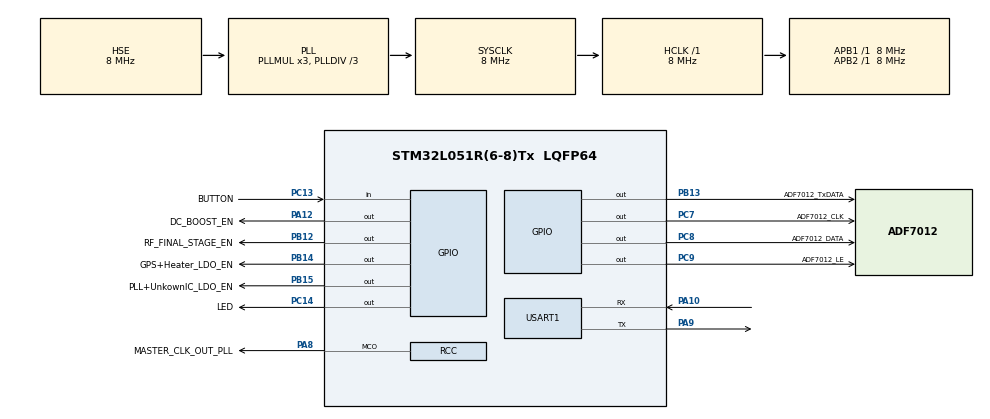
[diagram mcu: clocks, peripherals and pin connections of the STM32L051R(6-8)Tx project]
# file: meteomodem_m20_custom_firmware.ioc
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Dma.Request0=USART1_RX
Dma.USART1_RX.0.Direction=DMA_PERIPH_TO_MEMORY
Dma.USART1_RX.0.Instance=DMA1_Channel3
Dma.USART1_RX.0.MemDataAlignment=DMA_MDATAALIGN_BYTE
Dma.USART1_RX.0.MemInc=DMA_MINC_ENABLE
Dma.USART1_RX.0.Mode=DMA_NORMAL
Dma.USART1_RX.0.PeriphDataAlignment=DMA_PDATAALIGN_BYTE
Dma.USART1_RX.0.PeriphInc=DMA_PINC_DISABLE
Dma.USART1_RX.0.Priority=DMA_PRIORITY_LOW
Mcu.Family=STM32L0
Mcu.Name=STM32L051R(6-8)Tx
Mcu.Package=LQFP64
NVIC.DMA1_Channel2_3_IRQn=true\:0\:0\:false\:false\:true\:false\:true\:true
NVIC.TIM21_IRQn=true\:0\:0\:false\:false\:true\:true\:true\:true
NVIC.USART1_IRQn=true\:0\:0\:false\:false\:true\:true\:true\:true
PA10.Mode=Asynchronous
PA10.Signal=USART1_RX
PA12.GPIO_Label=DC_BOOST_EN
PA12.Signal=GPIO_Output
PA8.GPIO_Label=MASTER_CLK_OUT_PLL
PA8.GPIO_Speed=GPIO_SPEED_FREQ_VERY_HIGH
PA8.Mode=Clock-out
PA8.Signal=RCC_MCO
PA9.Mode=Asynchronous
PA9.Signal=USART1_TX
PB12.GPIO_Label=RF_FINAL_STAGE_EN
PB12.Signal=GPIO_Output
PB13.GPIO_Label=ADF7012_TxDATA
PB13.Signal=GPIO_Output
PB14.GPIO_Label=GPS+Heater_LDO_EN
PB14.Signal=GPIO_Output
PB15.GPIO_Label=PLL+UnkownIC_LDO_EN
PB15.Signal=GPIO_Output
PC13.GPIO_Label=BUTTON
PC13.Signal=GPIO_Input
PC14-OSC32_IN.GPIO_Label=LED
PC14-OSC32_IN.Signal=GPIO_Output
PC7.GPIO_Label=ADF7012_CLK
PC7.Signal=GPIO_Output
PC8.GPIO_Label=ADF7012_DATA
PC8.Signal=GPIO_Output
PC9.GPIO_Label=ADF7012_LE
PC9.Signal=GPIO_Output
PH0-OSC_IN.Mode=HSE-External-Oscillator
PH0-OSC_IN.Signal=RCC_OSC_IN
PH1-OSC_OUT.Mode=HSE-External-Oscillator
PH1-OSC_OUT.Signal=RCC_OSC_OUT
ProjectManager.HeapSize=0x200
ProjectManager.StackSize=0x400
ProjectManager.TargetToolchain=STM32CubeIDE
RCC.AHBFreq_Value=8000000
RCC.APB1Freq_Value=8000000
RCC.APB1TimFreq_Value=8000000
RCC.APB2Freq_Value=8000000
RCC.APB2TimFreq_Value=8000000
RCC.HCLKFreq_Value=8000000
RCC.HSE_VALUE=8000000
RCC.HSI16_VALUE=16000000
RCC.HSI_VALUE=16000000
RCC.LSE_VALUE=32768
RCC.MSI_VALUE=2097000
RCC.PLLDIV=RCC_PLLDIV_3
RCC.PLLSourceVirtual=RCC_PLLSOURCE_HSE
RCC.SYSCLKFreq_VALUE=8000000
RCC.SYSCLKSource=RCC_SYSCLKSOURCE_PLLCLK
RCC.VCOOutputFreq_Value=24000000
USART1.MSBFirstParam=ADVFEATURE_MSBFIRST_DISABLE
USART1.VirtualMode-Asynchronous=VM_ASYNC
VP_TIM21_VS_ClockSourceINT.Mode=Internal
board=custom

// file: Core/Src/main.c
/* USER CODE BEGIN Header */
/**
  ******************************************************************************
  * @file           : main.c
  * @brief          : Main program body
  ******************************************************************************
  * @attention
  *
  * Copyright (c) 2023 STMicroelectronics.
  * All rights reserved.
  *
  * This software is licensed under terms that can be found in the LICENSE file
  * in the root directory of this software component.
  * If no LICENSE file comes with this software, it is provided AS-IS.
  *
  ******************************************************************************
  */
/* USER CODE END Header */
#include "main.h"

/* USER CODE BEGIN Includes */

//#include "modes.h"
#include <string.h>
#include "functions.h"

/* USER CODE END Includes */

TIM_HandleTypeDef htim21;

UART_HandleTypeDef huart1;
DMA_HandleTypeDef hdma_usart1_rx;

/* USER CODE BEGIN PV */

uint8_t		activeMode = 4;
uint8_t		maxActiveMode = 5;
uint8_t		serialTXbuffer[2000];
uint32_t	TIM21_value;
uint16_t	TIM21_increment = 0;

uint32_t test = 0;

//extern void mode0();

/* USER CODE END PV */

void SystemClock_Config(void);
static void MX_GPIO_Init(void);
static void MX_DMA_Init(void);
static void MX_USART1_UART_Init(void);
static void MX_TIM21_Init(void);

/* USER CODE BEGIN 0 */

#define RxBuf_SIZE 32
#define MainBuf_SIZE 32

uint8_t RxBuf[RxBuf_SIZE];
uint8_t MainBuf[MainBuf_SIZE];

void HAL_UARTEx_RxEventCallback(UART_HandleTypeDef *huart, uint16_t Size)
{
	if (huart->Instance == USART1)
	{
		memcpy (MainBuf, RxBuf, Size);

		HAL_UARTEx_ReceiveToIdle_DMA(&huart1, RxBuf, RxBuf_SIZE);
		__HAL_DMA_DISABLE_IT(&hdma_usart1_rx, DMA_IT_HT);

		//for (uint8_t var = 31; var >= 0; var--) {
		for (uint8_t var = 0; var < 32; var++) {
			//uint8_t pos=30;
			//test[var] = RxBuf[var];
			if (MainBuf[var] == 49){
				//test << 0b1;
				test+=1;
			}
			if(var < 31){
				test<<=1;
			}
			//pos--;
			/*
			else if (RxBuf[var] == 48){
				//test << 0b0;
				test=2;
			}*/

		}

		//test = MainBuf;
		myspi(test);

		//for (uint8_t var = 0; var <= 33; ++var) {
			//test[var] = RxBuf[var];
		//}

		//myspi(0b00000000000011011000111101011101);
	}
}

uint32_t setfreq(float freq, float fPFD, uint8_t prescaler)
{
	float latch = freq / fPFD;
	uint32_t Nint = latch;
	latch = latch - Nint;
	uint32_t Nfrac = latch * 4096;
	uint32_t ret = 0;
	ret = ret | prescaler << 22;
	ret = ret | Nint << 14;
	ret = ret | Nfrac << 2;
	ret = ret | 0b00000001;
	return ret;
}

void HAL_UART_TxCpltCallback(UART_HandleTypeDef *huart)
{
   HAL_UART_Transmit_IT(&huart1, serialTXbuffer, sizeof (serialTXbuffer));
}

void clearbuffer(){
	for (int i=0; i < sizeof(serialTXbuffer); i++){
		serialTXbuffer[i]='\0';
	}
}

	/*
		if (bitNumber >= 1120){
			HAL_GPIO_WritePin(PLL_UnkownIC_LDO_EN_GPIO_Port, PLL_UnkownIC_LDO_EN_Pin, GPIO_PIN_RESET); //Disable PLL &
			HAL_GPIO_WritePin(RF_FINAL_STAGE_EN_GPIO_Port, RF_FINAL_STAGE_EN_Pin, GPIO_PIN_RESET);
			printstr("PLL & RF Stage : OFF");
	//		stop=1; bitNumber=0;}
	 *
	//}
}

/* USER CODE END 0 */

int main(void)
{

  /* MCU Configuration--------------------------------------------------------*/

  /* Reset of all peripherals, Initializes the Flash interface and the Systick. */
  HAL_Init();

  /* Configure the system clock */
  SystemClock_Config();

  /* Initialize all configured peripherals */
  MX_GPIO_Init();
  MX_DMA_Init();
  MX_USART1_UART_Init();
  MX_TIM21_Init();
  /* USER CODE BEGIN 2 */

  HAL_UARTEx_ReceiveToIdle_DMA(&huart1, RxBuf, RxBuf_SIZE);
  __HAL_DMA_DISABLE_IT(&hdma_usart1_rx, DMA_IT_HT);

  HAL_GPIO_WritePin(DC_BOOST_EN_GPIO_Port, DC_BOOST_EN_Pin, GPIO_PIN_SET); //Enable DC Boost

	if (HAL_TIM_Base_Start_IT(&htim21) != HAL_OK)
	  {
		/* Starting Error */
		Error_Handler();
	  }

  /* USER CODE END 2 */

  /* Infinite loop */
  while (1)
  {

    /* USER CODE BEGIN 3 */
	printstr("\n\nMain While");

	sprintf(serialTXbuffer,"activeMode=%d\n", activeMode);
	HAL_UART_Transmit(&huart1, serialTXbuffer, sizeof (serialTXbuffer), sizeof (serialTXbuffer));
	clearbuffer();

  	if (activeMode >= maxActiveMode){activeMode=0;}

		switch (activeMode)
		{
			case 0:
				printstr("case 0");
				mode0();
				break;

			case 1:
				printstr("case 1");
				//mode1();
				/*
				while (activeMode==1) {
					HAL_Delay(500);
					if ( HAL_GPIO_ReadPin(BUTTON_GPIO_Port, BUTTON_Pin) ==0 ) { activeMode++; }
				}*/
				break;
			case 2:
				printstr("case 2");
				mode2();
				break;
			case 3:
				printstr("case 3");
				//mode3();
				break;
			case 4:
				printstr("case 4");
				mode4();
				break;
			default:
				break;
		}

  }
  /* USER CODE END 3 */
}

void SystemClock_Config(void)
{
  RCC_OscInitTypeDef RCC_OscInitStruct = {0};
  RCC_ClkInitTypeDef RCC_ClkInitStruct = {0};
  RCC_PeriphCLKInitTypeDef PeriphClkInit = {0};

  /** Configure the main internal regulator output voltage
  */
  __HAL_PWR_VOLTAGESCALING_CONFIG(PWR_REGULATOR_VOLTAGE_SCALE1);

  /** Initializes the RCC Oscillators according to the specified parameters
  * in the RCC_OscInitTypeDef structure.
  */
  RCC_OscInitStruct.OscillatorType = RCC_OSCILLATORTYPE_HSE;
  RCC_OscInitStruct.HSEState = RCC_HSE_ON;
  RCC_OscInitStruct.PLL.PLLState = RCC_PLL_ON;
  RCC_OscInitStruct.PLL.PLLSource = RCC_PLLSOURCE_HSE;
  RCC_OscInitStruct.PLL.PLLMUL = RCC_PLLMUL_3;
  RCC_OscInitStruct.PLL.PLLDIV = RCC_PLLDIV_3;
  if (HAL_RCC_OscConfig(&RCC_OscInitStruct) != HAL_OK)
  {
    Error_Handler();
  }

  /** Initializes the CPU, AHB and APB buses clocks
  */
  RCC_ClkInitStruct.ClockType = RCC_CLOCKTYPE_HCLK|RCC_CLOCKTYPE_SYSCLK
                              |RCC_CLOCKTYPE_PCLK1|RCC_CLOCKTYPE_PCLK2;
  RCC_ClkInitStruct.SYSCLKSource = RCC_SYSCLKSOURCE_PLLCLK;
  RCC_ClkInitStruct.AHBCLKDivider = RCC_SYSCLK_DIV1;
  RCC_ClkInitStruct.APB1CLKDivider = RCC_HCLK_DIV1;
  RCC_ClkInitStruct.APB2CLKDivider = RCC_HCLK_DIV1;

  if (HAL_RCC_ClockConfig(&RCC_ClkInitStruct, FLASH_LATENCY_0) != HAL_OK)
  {
    Error_Handler();
  }
  PeriphClkInit.PeriphClockSelection = RCC_PERIPHCLK_USART1;
  PeriphClkInit.Usart1ClockSelection = RCC_USART1CLKSOURCE_PCLK2;
  if (HAL_RCCEx_PeriphCLKConfig(&PeriphClkInit) != HAL_OK)
  {
    Error_Handler();
  }
  HAL_RCC_MCOConfig(RCC_MCO1, RCC_MCO1SOURCE_SYSCLK, RCC_MCODIV_1);
}

static void MX_TIM21_Init(void)
{

  TIM_ClockConfigTypeDef sClockSourceConfig = {0};
  TIM_MasterConfigTypeDef sMasterConfig = {0};

  htim21.Instance = TIM21;
  htim21.Init.Prescaler = 0;
  htim21.Init.CounterMode = TIM_COUNTERMODE_UP;
  htim21.Init.Period = 65535;
  htim21.Init.ClockDivision = TIM_CLOCKDIVISION_DIV1;
  htim21.Init.AutoReloadPreload = TIM_AUTORELOAD_PRELOAD_DISABLE;
  if (HAL_TIM_Base_Init(&htim21) != HAL_OK)
  {
    Error_Handler();
  }
  sClockSourceConfig.ClockSource = TIM_CLOCKSOURCE_INTERNAL;
  if (HAL_TIM_ConfigClockSource(&htim21, &sClockSourceConfig) != HAL_OK)
  {
    Error_Handler();
  }
  sMasterConfig.MasterOutputTrigger = TIM_TRGO_RESET;
  sMasterConfig.MasterSlaveMode = TIM_MASTERSLAVEMODE_DISABLE;
  if (HAL_TIMEx_MasterConfigSynchronization(&htim21, &sMasterConfig) != HAL_OK)
  {
    Error_Handler();
  }

}

static void MX_USART1_UART_Init(void)
{

  huart1.Instance = USART1;
  huart1.Init.BaudRate = 115200;
  huart1.Init.WordLength = UART_WORDLENGTH_8B;
  huart1.Init.StopBits = UART_STOPBITS_1;
  huart1.Init.Parity = UART_PARITY_NONE;
  huart1.Init.Mode = UART_MODE_TX_RX;
  huart1.Init.HwFlowCtl = UART_HWCONTROL_NONE;
  huart1.Init.OverSampling = UART_OVERSAMPLING_16;
  huart1.Init.OneBitSampling = UART_ONE_BIT_SAMPLE_DISABLE;
  huart1.AdvancedInit.AdvFeatureInit = UART_ADVFEATURE_NO_INIT;
  if (HAL_UART_Init(&huart1) != HAL_OK)
  {
    Error_Handler();
  }

}

static void MX_DMA_Init(void)
{

  /* DMA controller clock enable */
  __HAL_RCC_DMA1_CLK_ENABLE();

  /* DMA interrupt init */
  /* DMA1_Channel2_3_IRQn interrupt configuration */
  HAL_NVIC_SetPriority(DMA1_Channel2_3_IRQn, 0, 0);
  HAL_NVIC_EnableIRQ(DMA1_Channel2_3_IRQn);

}

static void MX_GPIO_Init(void)
{
  GPIO_InitTypeDef GPIO_InitStruct = {0};

  /* GPIO Ports Clock Enable */
  __HAL_RCC_GPIOC_CLK_ENABLE();
  __HAL_RCC_GPIOH_CLK_ENABLE();
  __HAL_RCC_GPIOB_CLK_ENABLE();
  __HAL_RCC_GPIOA_CLK_ENABLE();

  /*Configure GPIO pin Output Level */
  HAL_GPIO_WritePin(GPIOC, LED_Pin|ADF7012_CLK_Pin|ADF7012_DATA_Pin|ADF7012_LE_Pin, GPIO_PIN_RESET);

  /*Configure GPIO pin Output Level */
  HAL_GPIO_WritePin(GPIOB, RF_FINAL_STAGE_EN_Pin|ADF7012_TxDATA_Pin|GPS_Heater_LDO_EN_Pin|PLL_UnkownIC_LDO_EN_Pin, GPIO_PIN_RESET);

  /*Configure GPIO pin Output Level */
  HAL_GPIO_WritePin(DC_BOOST_EN_GPIO_Port, DC_BOOST_EN_Pin, GPIO_PIN_RESET);

  /*Configure GPIO pin : BUTTON_Pin */
  GPIO_InitStruct.Pin = BUTTON_Pin;
  GPIO_InitStruct.Mode = GPIO_MODE_INPUT;
  GPIO_InitStruct.Pull = GPIO_NOPULL;
  HAL_GPIO_Init(BUTTON_GPIO_Port, &GPIO_InitStruct);

  /*Configure GPIO pins : LED_Pin ADF7012_CLK_Pin ADF7012_DATA_Pin ADF7012_LE_Pin */
  GPIO_InitStruct.Pin = LED_Pin|ADF7012_CLK_Pin|ADF7012_DATA_Pin|ADF7012_LE_Pin;
  GPIO_InitStruct.Mode = GPIO_MODE_OUTPUT_PP;
  GPIO_InitStruct.Pull = GPIO_NOPULL;
  GPIO_InitStruct.Speed = GPIO_SPEED_FREQ_LOW;
  HAL_GPIO_Init(GPIOC, &GPIO_InitStruct);

  /*Configure GPIO pins : RF_FINAL_STAGE_EN_Pin ADF7012_TxDATA_Pin GPS_Heater_LDO_EN_Pin PLL_UnkownIC_LDO_EN_Pin */
  GPIO_InitStruct.Pin = RF_FINAL_STAGE_EN_Pin|ADF7012_TxDATA_Pin|GPS_Heater_LDO_EN_Pin|PLL_UnkownIC_LDO_EN_Pin;
  GPIO_InitStruct.Mode = GPIO_MODE_OUTPUT_PP;
  GPIO_InitStruct.Pull = GPIO_NOPULL;
  GPIO_InitStruct.Speed = GPIO_SPEED_FREQ_LOW;
  HAL_GPIO_Init(GPIOB, &GPIO_InitStruct);

  /*Configure GPIO pin : MASTER_CLK_OUT_PLL_Pin */
  GPIO_InitStruct.Pin = MASTER_CLK_OUT_PLL_Pin;
  GPIO_InitStruct.Mode = GPIO_MODE_AF_PP;
  GPIO_InitStruct.Pull = GPIO_NOPULL;
  GPIO_InitStruct.Speed = GPIO_SPEED_FREQ_VERY_HIGH;
  GPIO_InitStruct.Alternate = GPIO_AF0_MCO;
  HAL_GPIO_Init(MASTER_CLK_OUT_PLL_GPIO_Port, &GPIO_InitStruct);

  /*Configure GPIO pin : DC_BOOST_EN_Pin */
  GPIO_InitStruct.Pin = DC_BOOST_EN_Pin;
  GPIO_InitStruct.Mode = GPIO_MODE_OUTPUT_PP;
  GPIO_InitStruct.Pull = GPIO_NOPULL;
  GPIO_InitStruct.Speed = GPIO_SPEED_FREQ_LOW;
  HAL_GPIO_Init(DC_BOOST_EN_GPIO_Port, &GPIO_InitStruct);

}

void Error_Handler(void)
{
  __disable_irq();
  while (1)
  {
  }
}
